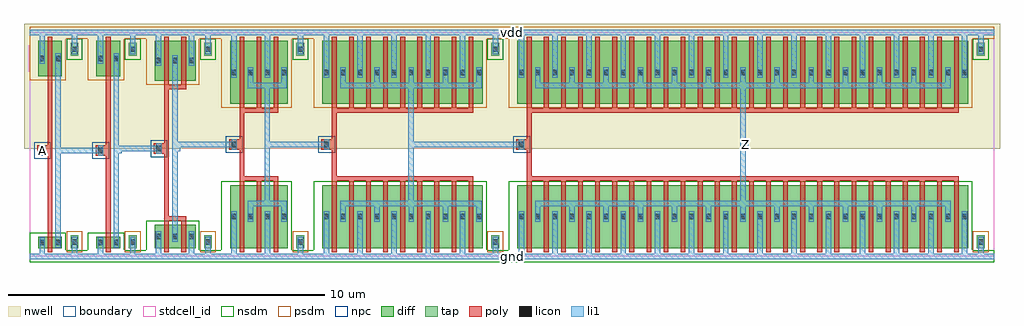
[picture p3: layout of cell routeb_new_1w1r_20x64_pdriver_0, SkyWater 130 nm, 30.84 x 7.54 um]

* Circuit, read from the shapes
.subckt routeb_new_1w1r_20x64_pdriver_0 A Z gnd vdd
XM1 routeb_new_1w1r_20x64_pinv_4_1/A A gnd gnd sky130_fd_pr__nfet_01v8 w=0.36 l=0.15
XM2 routeb_new_1w1r_20x64_pinv_5_2/A routeb_new_1w1r_20x64_pinv_4_1/A gnd gnd sky130_fd_pr__nfet_01v8 w=0.36 l=0.15
XM3 routeb_new_1w1r_20x64_pinv_6_3/A routeb_new_1w1r_20x64_pinv_5_2/A gnd gnd sky130_fd_pr__nfet_01v8 w=0.74 l=0.15 m=2
XM4 routeb_new_1w1r_20x64_pinv_7_4/A routeb_new_1w1r_20x64_pinv_6_3/A gnd gnd sky130_fd_pr__nfet_01v8 w=2 l=0.15 m=3
XM5 routeb_new_1w1r_20x64_pinv_8_5/A routeb_new_1w1r_20x64_pinv_7_4/A gnd gnd sky130_fd_pr__nfet_01v8 w=2 l=0.15 m=9
XM6 Z routeb_new_1w1r_20x64_pinv_8_5/A gnd gnd sky130_fd_pr__nfet_01v8 w=2 l=0.15 m=26
XM7 routeb_new_1w1r_20x64_pinv_4_1/A A vdd vdd sky130_fd_pr__pfet_01v8 w=1.12 l=0.15
XM8 routeb_new_1w1r_20x64_pinv_5_2/A routeb_new_1w1r_20x64_pinv_4_1/A vdd vdd sky130_fd_pr__pfet_01v8 w=1.12 l=0.15
XM9 routeb_new_1w1r_20x64_pinv_6_3/A routeb_new_1w1r_20x64_pinv_5_2/A vdd vdd sky130_fd_pr__pfet_01v8 w=1.26 l=0.15 m=2
XM10 routeb_new_1w1r_20x64_pinv_7_4/A routeb_new_1w1r_20x64_pinv_6_3/A vdd vdd sky130_fd_pr__pfet_01v8 w=2 l=0.15 m=3
XM11 routeb_new_1w1r_20x64_pinv_8_5/A routeb_new_1w1r_20x64_pinv_7_4/A vdd vdd sky130_fd_pr__pfet_01v8 w=2 l=0.15 m=9
XM12 Z routeb_new_1w1r_20x64_pinv_8_5/A vdd vdd sky130_fd_pr__pfet_01v8 w=2 l=0.15 m=26
.ends

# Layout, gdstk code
import gdstk
lib = gdstk.Library(unit=1e-6, precision=1e-09)
def R(c, l, rs):  # rectangles x0, y0, x1, y1
    for r in rs: c.add(gdstk.rectangle(r[:2], r[2:], *l))
def A(c, l, x, y, w, h, nx, ny, dx, dy):  # array of equal rectangles
    R(c, l, [(x+i*dx, y+j*dy, x+i*dx+w, y+j*dy+h) for i in range(nx) for j in range(ny)])
nwell = (64, 20)
diff = (65, 20)
tap = (65, 44)
poly = (66, 20)
licon = (66, 44)
li1 = (67, 20)
stdcell_id = (81, 4)
nsdm = (93, 44)
psdm = (94, 20)
npc = (95, 20)
boundary = (235, 4)

routeb_new_1w1r_20x64_co = lib.new_cell('routeb_new_1w1r_20x64_contact_11')
R(routeb_new_1w1r_20x64_co, nwell, [(-0.295,-0.255,0.545,0.585)])
R(routeb_new_1w1r_20x64_co, diff, [(0,0.02,0.25,0.31)])
R(routeb_new_1w1r_20x64_co, licon, [(0.04,0.08,0.21,0.25)])
R(routeb_new_1w1r_20x64_co, li1, [(0.04,0,0.21,0.33)])
R(routeb_new_1w1r_20x64_co, stdcell_id, [(-0.295,-0.255,0.545,0.585)])
R(routeb_new_1w1r_20x64_co, psdm, [(-0.125,-0.105,0.375,0.435)])
R(routeb_new_1w1r_20x64_co, boundary, [(-0.295,-0.255,0.545,0.585)])

routeb_new_1w1r_20x64_pm = lib.new_cell('routeb_new_1w1r_20x64_pmos_m1_w1_120_sli_dli_da_p')
R(routeb_new_1w1r_20x64_pm, nwell, [(-0.27,-0.27,1.02,1.39)])
R(routeb_new_1w1r_20x64_pm, diff, [(0,0,0.75,1.12)])
R(routeb_new_1w1r_20x64_pm, poly, [(0.3,-0.13,0.45,1.25), (0.3,-0.13,0.45,1.25)])
R(routeb_new_1w1r_20x64_pm, li1, [(0.04,0.395,0.21,0.725), (0.54,0.395,0.71,0.725)])
R(routeb_new_1w1r_20x64_pm, stdcell_id, [(-0.27,-0.27,1.02,1.39)])
R(routeb_new_1w1r_20x64_pm, psdm, [(-0.125,-0.125,0.875,1.245)])
R(routeb_new_1w1r_20x64_pm, boundary, [(-0.27,-0.27,1.02,1.39)])
routeb_new_1w1r_20x64_pm.add(gdstk.Reference(routeb_new_1w1r_20x64_co, (0,0.395)))
routeb_new_1w1r_20x64_pm.add(gdstk.Reference(routeb_new_1w1r_20x64_co, (0.5,0.395)))
routeb_new_1w1r_20x64_pm.add(gdstk.Label('G', (0.375,0.56), layer=66, texttype=5))
routeb_new_1w1r_20x64_pm.add(gdstk.Label('S', (0.125,0.56), layer=67, texttype=5))
routeb_new_1w1r_20x64_pm.add(gdstk.Label('D', (0.625,0.56), layer=67, texttype=5))

c_routeb_new_1w1r_20x64_co = lib.new_cell('routeb_new_1w1r_20x64_contact_10')
R(c_routeb_new_1w1r_20x64_co, diff, [(0,0.02,0.25,0.31)])
R(c_routeb_new_1w1r_20x64_co, licon, [(0.04,0.08,0.21,0.25)])
R(c_routeb_new_1w1r_20x64_co, li1, [(0.04,0,0.21,0.33)])
R(c_routeb_new_1w1r_20x64_co, stdcell_id, [(-0.125,-0.105,0.375,0.435)])
R(c_routeb_new_1w1r_20x64_co, nsdm, [(-0.125,-0.105,0.375,0.435)])
R(c_routeb_new_1w1r_20x64_co, boundary, [(-0.125,-0.105,0.375,0.435)])

routeb_new_1w1r_20x64_nm = lib.new_cell('routeb_new_1w1r_20x64_nmos_m1_w0_360_sli_dli_da_p')
R(routeb_new_1w1r_20x64_nm, diff, [(0,0,0.75,0.36)])
R(routeb_new_1w1r_20x64_nm, poly, [(0.3,-0.13,0.45,0.49), (0.3,-0.13,0.45,0.49)])
R(routeb_new_1w1r_20x64_nm, li1, [(0.04,0.015,0.21,0.345), (0.54,0.015,0.71,0.345)])
R(routeb_new_1w1r_20x64_nm, stdcell_id, [(-0.125,-0.13,0.875,0.49)])
R(routeb_new_1w1r_20x64_nm, nsdm, [(-0.125,-0.125,0.875,0.485)])
R(routeb_new_1w1r_20x64_nm, boundary, [(-0.125,-0.13,0.875,0.49)])
routeb_new_1w1r_20x64_nm.add(gdstk.Reference(c_routeb_new_1w1r_20x64_co, (0,0.015)))
routeb_new_1w1r_20x64_nm.add(gdstk.Reference(c_routeb_new_1w1r_20x64_co, (0.5,0.015)))
routeb_new_1w1r_20x64_nm.add(gdstk.Label('G', (0.375,0.18), layer=66, texttype=5))
routeb_new_1w1r_20x64_nm.add(gdstk.Label('S', (0.125,0.18), layer=67, texttype=5))
routeb_new_1w1r_20x64_nm.add(gdstk.Label('D', (0.625,0.18), layer=67, texttype=5))

c_routeb_new_1w1r_20x64_co_ = lib.new_cell('routeb_new_1w1r_20x64_contact_24')
R(c_routeb_new_1w1r_20x64_co_, nwell, [(-0.295,-0.215,0.545,0.625)])
R(c_routeb_new_1w1r_20x64_co_, tap, [(0,0,0.25,0.41)])
R(c_routeb_new_1w1r_20x64_co_, licon, [(0.04,0.12,0.21,0.29)])
R(c_routeb_new_1w1r_20x64_co_, li1, [(0.04,0.04,0.21,0.37)])
R(c_routeb_new_1w1r_20x64_co_, stdcell_id, [(-0.295,-0.215,0.545,0.625)])
R(c_routeb_new_1w1r_20x64_co_, nsdm, [(-0.125,-0.125,0.375,0.535)])
R(c_routeb_new_1w1r_20x64_co_, boundary, [(-0.295,-0.215,0.545,0.625)])

c_routeb_new_1w1r_20x64_co__ = lib.new_cell('routeb_new_1w1r_20x64_contact_25')
R(c_routeb_new_1w1r_20x64_co__, tap, [(0,0,0.25,0.41)])
R(c_routeb_new_1w1r_20x64_co__, licon, [(0.04,0.12,0.21,0.29)])
R(c_routeb_new_1w1r_20x64_co__, li1, [(0.04,0.04,0.21,0.37)])
R(c_routeb_new_1w1r_20x64_co__, stdcell_id, [(-0.125,-0.125,0.375,0.535)])
R(c_routeb_new_1w1r_20x64_co__, psdm, [(-0.125,-0.125,0.375,0.535)])
R(c_routeb_new_1w1r_20x64_co__, boundary, [(-0.125,-0.125,0.375,0.535)])

c_routeb_new_1w1r_20x64_co___ = lib.new_cell('routeb_new_1w1r_20x64_contact_15')
R(c_routeb_new_1w1r_20x64_co___, poly, [(0,0,0.33,0.33)])
R(c_routeb_new_1w1r_20x64_co___, licon, [(0.08,0.08,0.25,0.25)])
R(c_routeb_new_1w1r_20x64_co___, li1, [(0.08,0,0.25,0.33)])
R(c_routeb_new_1w1r_20x64_co___, stdcell_id, [(-0.1,-0.1,0.43,0.43)])
R(c_routeb_new_1w1r_20x64_co___, npc, [(-0.1,-0.1,0.43,0.43)])
R(c_routeb_new_1w1r_20x64_co___, boundary, [(-0.1,-0.1,0.43,0.43)])

routeb_new_1w1r_20x64_pi = lib.new_cell('routeb_new_1w1r_20x64_pinv_4')
R(routeb_new_1w1r_20x64_pi, nwell, [(-0.18,3.395,2.02,7.355)])
R(routeb_new_1w1r_20x64_pi, poly, [(0.57,0.745,0.72,5.565), (0.405,3.18,0.57,3.51)])
R(routeb_new_1w1r_20x64_pi, li1, [(0,-0.085,1.84,0.085), (0.31,-0.085,0.48,0.27), (1.33,0,1.5,0.46), (0.81,0.27,0.98,6.42), (0.32,3.18,0.49,3.51), (0.895,3.26,1.065,3.43), (0.31,6.09,0.48,7.155), (1.33,6.545,1.5,7.07), (0,6.985,1.84,7.155)])
R(routeb_new_1w1r_20x64_pi, stdcell_id, [(0,0,1.84,7.07), (0,0,1.84,7.07)])
R(routeb_new_1w1r_20x64_pi, nsdm, [(0,-0.19,1.84,0.19), (0,0,1.145,0.74)])
R(routeb_new_1w1r_20x64_pi, psdm, [(0,5.57,1.145,7.07), (0,6.88,1.84,7.26)])
R(routeb_new_1w1r_20x64_pi, boundary, [(0,0,1.84,7.07), (0,0,1.84,7.07)])
routeb_new_1w1r_20x64_pi.add(gdstk.Reference(routeb_new_1w1r_20x64_pm, (0.27,5.695)))
routeb_new_1w1r_20x64_pi.add(gdstk.Reference(routeb_new_1w1r_20x64_nm, (0.27,0.255)))
routeb_new_1w1r_20x64_pi.add(gdstk.Reference(c_routeb_new_1w1r_20x64_co_, (1.29,6.34)))
routeb_new_1w1r_20x64_pi.add(gdstk.Reference(c_routeb_new_1w1r_20x64_co__, (1.29,0.255)))
routeb_new_1w1r_20x64_pi.add(gdstk.Reference(c_routeb_new_1w1r_20x64_co___, (0.24,3.18)))
routeb_new_1w1r_20x64_pi.add(gdstk.Label('A', (0.405,3.345), layer=67, texttype=5))
routeb_new_1w1r_20x64_pi.add(gdstk.Label('Z', (0.98,3.345), layer=67, texttype=5))
routeb_new_1w1r_20x64_pi.add(gdstk.Label('gnd', (0.92,0), layer=67, texttype=5))
routeb_new_1w1r_20x64_pi.add(gdstk.Label('vdd', (0.92,7.07), layer=67, texttype=5))

c_routeb_new_1w1r_20x64_pm = lib.new_cell('routeb_new_1w1r_20x64_pmos_m2_w1_260_sli_dli_da_p')
R(c_routeb_new_1w1r_20x64_pm, nwell, [(-0.27,-0.27,1.56,1.53)])
R(c_routeb_new_1w1r_20x64_pm, diff, [(0,0,1.29,1.26)])
R(c_routeb_new_1w1r_20x64_pm, poly, [(0.3,-0.28,0.99,-0.13), (0.3,-0.13,0.45,1.39), (0.84,-0.13,0.99,1.39)])
A(c_routeb_new_1w1r_20x64_pm, li1, 0.04, 0.465, 0.17, 0.33, 3, 1, 0.52, 0)
R(c_routeb_new_1w1r_20x64_pm, stdcell_id, [(-0.27,-0.28,1.56,1.53)])
R(c_routeb_new_1w1r_20x64_pm, psdm, [(-0.125,-0.125,1.415,1.385)])
R(c_routeb_new_1w1r_20x64_pm, boundary, [(-0.27,-0.28,1.56,1.53)])
c_routeb_new_1w1r_20x64_pm.add(gdstk.Reference(routeb_new_1w1r_20x64_co, (0,0.465)))
c_routeb_new_1w1r_20x64_pm.add(gdstk.Reference(routeb_new_1w1r_20x64_co, (0.52,0.465)))
c_routeb_new_1w1r_20x64_pm.add(gdstk.Reference(routeb_new_1w1r_20x64_co, (1.04,0.465)))
c_routeb_new_1w1r_20x64_pm.add(gdstk.Label('G', (0.645,-0.205), layer=66, texttype=5))
c_routeb_new_1w1r_20x64_pm.add(gdstk.Label('S', (0.125,0.63), layer=67, texttype=5))
c_routeb_new_1w1r_20x64_pm.add(gdstk.Label('S', (1.165,0.63), layer=67, texttype=5))
c_routeb_new_1w1r_20x64_pm.add(gdstk.Label('D', (0.645,0.63), layer=67, texttype=5))

c_routeb_new_1w1r_20x64_nm = lib.new_cell('routeb_new_1w1r_20x64_nmos_m2_w0_740_sli_dli_da_p')
R(c_routeb_new_1w1r_20x64_nm, diff, [(0,0,1.29,0.74)])
R(c_routeb_new_1w1r_20x64_nm, poly, [(0.3,-0.13,0.45,0.87), (0.84,-0.13,0.99,0.87), (0.3,0.87,0.99,1.02)])
A(c_routeb_new_1w1r_20x64_nm, li1, 0.04, 0.205, 0.17, 0.33, 3, 1, 0.52, 0)
R(c_routeb_new_1w1r_20x64_nm, stdcell_id, [(-0.125,-0.13,1.415,1.02)])
R(c_routeb_new_1w1r_20x64_nm, nsdm, [(-0.125,-0.125,1.415,0.865)])
R(c_routeb_new_1w1r_20x64_nm, boundary, [(-0.125,-0.13,1.415,1.02)])
c_routeb_new_1w1r_20x64_nm.add(gdstk.Reference(c_routeb_new_1w1r_20x64_co, (0,0.205)))
c_routeb_new_1w1r_20x64_nm.add(gdstk.Reference(c_routeb_new_1w1r_20x64_co, (0.52,0.205)))
c_routeb_new_1w1r_20x64_nm.add(gdstk.Reference(c_routeb_new_1w1r_20x64_co, (1.04,0.205)))
c_routeb_new_1w1r_20x64_nm.add(gdstk.Label('G', (0.645,0.945), layer=66, texttype=5))
c_routeb_new_1w1r_20x64_nm.add(gdstk.Label('S', (1.165,0.37), layer=67, texttype=5))
c_routeb_new_1w1r_20x64_nm.add(gdstk.Label('S', (0.125,0.37), layer=67, texttype=5))
c_routeb_new_1w1r_20x64_nm.add(gdstk.Label('D', (0.645,0.37), layer=67, texttype=5))

c_routeb_new_1w1r_20x64_pi = lib.new_cell('routeb_new_1w1r_20x64_pinv_5')
R(c_routeb_new_1w1r_20x64_pi, nwell, [(-0.18,3.395,2.56,7.355)])
R(c_routeb_new_1w1r_20x64_pi, poly, [(0.57,1.275,0.72,5.275), (0.405,3.24,0.57,3.57)])
R(c_routeb_new_1w1r_20x64_pi, li1, [(0,-0.085,2.38,0.085), (0.31,-0.085,0.48,0.46), (1.35,-0.085,1.52,0.46), (1.87,0,2.04,0.46), (0.83,0.46,1,6.35), (0.32,3.24,0.49,3.57), (0.915,3.32,1.085,3.49), (0.31,6.02,0.48,7.155), (1.35,6.02,1.52,7.155), (1.87,6.545,2.04,7.07), (0,6.985,2.38,7.155)])
R(c_routeb_new_1w1r_20x64_pi, stdcell_id, [(0,0,2.38,7.07), (0,0,2.38,7.07)])
R(c_routeb_new_1w1r_20x64_pi, nsdm, [(0,-0.19,2.38,0.19), (0,0,1.685,1.12)])
R(c_routeb_new_1w1r_20x64_pi, psdm, [(0,5.43,1.685,7.07), (0,6.88,2.38,7.26)])
R(c_routeb_new_1w1r_20x64_pi, boundary, [(0,0,2.38,7.07), (0,0,2.38,7.07)])
c_routeb_new_1w1r_20x64_pi.add(gdstk.Reference(c_routeb_new_1w1r_20x64_pm, (0.27,5.555)))
c_routeb_new_1w1r_20x64_pi.add(gdstk.Reference(c_routeb_new_1w1r_20x64_nm, (0.27,0.255)))
c_routeb_new_1w1r_20x64_pi.add(gdstk.Reference(c_routeb_new_1w1r_20x64_co_, (1.83,6.34)))
c_routeb_new_1w1r_20x64_pi.add(gdstk.Reference(c_routeb_new_1w1r_20x64_co__, (1.83,0.255)))
c_routeb_new_1w1r_20x64_pi.add(gdstk.Reference(c_routeb_new_1w1r_20x64_co___, (0.24,3.24)))
c_routeb_new_1w1r_20x64_pi.add(gdstk.Label('A', (0.405,3.405), layer=67, texttype=5))
c_routeb_new_1w1r_20x64_pi.add(gdstk.Label('Z', (1,3.405), layer=67, texttype=5))
c_routeb_new_1w1r_20x64_pi.add(gdstk.Label('gnd', (1.19,0), layer=67, texttype=5))
c_routeb_new_1w1r_20x64_pi.add(gdstk.Label('vdd', (1.19,7.07), layer=67, texttype=5))

c_routeb_new_1w1r_20x64_pm_ = lib.new_cell('routeb_new_1w1r_20x64_pmos_m3_w2_000_sli_dli_da_p')
R(c_routeb_new_1w1r_20x64_pm_, nwell, [(-0.27,-0.27,2.1,2.27)])
R(c_routeb_new_1w1r_20x64_pm_, diff, [(0,0,1.83,2)])
A(c_routeb_new_1w1r_20x64_pm_, poly, 0.3, -0.13, 0.15, 2.26, 3, 1, 0.54, 0)
R(c_routeb_new_1w1r_20x64_pm_, poly, [(0.3,-0.28,1.53,-0.13)])
R(c_routeb_new_1w1r_20x64_pm_, li1, [(0.56,0.495,1.79,0.665), (0.56,0.58,0.73,1), (1.62,0.58,1.79,1), (0.04,0.835,0.21,1.165), (1.1,0.835,1.27,1.165)])
R(c_routeb_new_1w1r_20x64_pm_, stdcell_id, [(-0.27,-0.28,2.1,2.27)])
R(c_routeb_new_1w1r_20x64_pm_, psdm, [(-0.125,-0.125,1.955,2.125)])
R(c_routeb_new_1w1r_20x64_pm_, boundary, [(-0.27,-0.28,2.1,2.27)])
c_routeb_new_1w1r_20x64_pm_.add(gdstk.Reference(routeb_new_1w1r_20x64_co, (0,0.835)))
c_routeb_new_1w1r_20x64_pm_.add(gdstk.Reference(routeb_new_1w1r_20x64_co, (0.52,0.835)))
c_routeb_new_1w1r_20x64_pm_.add(gdstk.Reference(routeb_new_1w1r_20x64_co, (1.06,0.835)))
c_routeb_new_1w1r_20x64_pm_.add(gdstk.Reference(routeb_new_1w1r_20x64_co, (1.58,0.835)))
c_routeb_new_1w1r_20x64_pm_.add(gdstk.Label('G', (0.915,-0.205), layer=66, texttype=5))
c_routeb_new_1w1r_20x64_pm_.add(gdstk.Label('S', (0.125,1), layer=67, texttype=5))
c_routeb_new_1w1r_20x64_pm_.add(gdstk.Label('S', (1.185,1), layer=67, texttype=5))
c_routeb_new_1w1r_20x64_pm_.add(gdstk.Label('D', (1.175,0.58), layer=67, texttype=5))

c_routeb_new_1w1r_20x64_nm_ = lib.new_cell('routeb_new_1w1r_20x64_nmos_m3_w2_000_sli_dli_da_p')
R(c_routeb_new_1w1r_20x64_nm_, diff, [(0,0,1.83,2)])
A(c_routeb_new_1w1r_20x64_nm_, poly, 0.3, -0.13, 0.15, 2.26, 3, 1, 0.54, 0)
R(c_routeb_new_1w1r_20x64_nm_, poly, [(0.3,2.13,1.53,2.28)])
R(c_routeb_new_1w1r_20x64_nm_, li1, [(0.04,0.835,0.21,1.165), (1.1,0.835,1.27,1.165), (0.56,1,0.73,1.42), (1.62,1,1.79,1.42), (0.56,1.335,1.79,1.505)])
R(c_routeb_new_1w1r_20x64_nm_, stdcell_id, [(-0.125,-0.13,1.955,2.28)])
R(c_routeb_new_1w1r_20x64_nm_, nsdm, [(-0.125,-0.125,1.955,2.125)])
R(c_routeb_new_1w1r_20x64_nm_, boundary, [(-0.125,-0.13,1.955,2.28)])
c_routeb_new_1w1r_20x64_nm_.add(gdstk.Reference(c_routeb_new_1w1r_20x64_co, (0,0.835)))
c_routeb_new_1w1r_20x64_nm_.add(gdstk.Reference(c_routeb_new_1w1r_20x64_co, (0.52,0.835)))
c_routeb_new_1w1r_20x64_nm_.add(gdstk.Reference(c_routeb_new_1w1r_20x64_co, (1.06,0.835)))
c_routeb_new_1w1r_20x64_nm_.add(gdstk.Reference(c_routeb_new_1w1r_20x64_co, (1.58,0.835)))
c_routeb_new_1w1r_20x64_nm_.add(gdstk.Label('G', (0.915,2.205), layer=66, texttype=5))
c_routeb_new_1w1r_20x64_nm_.add(gdstk.Label('S', (0.125,1), layer=67, texttype=5))
c_routeb_new_1w1r_20x64_nm_.add(gdstk.Label('S', (1.185,1), layer=67, texttype=5))
c_routeb_new_1w1r_20x64_nm_.add(gdstk.Label('D', (1.175,1.42), layer=67, texttype=5))

c_routeb_new_1w1r_20x64_pi_ = lib.new_cell('routeb_new_1w1r_20x64_pinv_6')
R(c_routeb_new_1w1r_20x64_pi_, nwell, [(-0.18,3.395,3.1,7.355)])
R(c_routeb_new_1w1r_20x64_pi_, poly, [(0.57,2.535,0.72,4.535), (0.405,3.37,0.57,3.7)])
R(c_routeb_new_1w1r_20x64_pi_, li1, [(0,-0.085,2.92,0.085), (0.31,-0.085,0.48,1.09), (1.37,-0.085,1.54,1.09), (2.41,0,2.58,0.46), (1.36,1.59,1.53,5.48), (0.32,3.37,0.49,3.7), (1.445,3.45,1.615,3.62), (0.31,5.65,0.48,7.155), (1.37,5.65,1.54,7.155), (2.41,6.545,2.58,7.07), (0,6.985,2.92,7.155)])
R(c_routeb_new_1w1r_20x64_pi_, stdcell_id, [(0,0,2.92,7.07), (0,0,2.92,7.07)])
R(c_routeb_new_1w1r_20x64_pi_, nsdm, [(0,-0.19,2.92,0.19), (0,0,2.225,2.38)])
R(c_routeb_new_1w1r_20x64_pi_, psdm, [(0,4.69,2.225,7.07), (0,6.88,2.92,7.26)])
R(c_routeb_new_1w1r_20x64_pi_, boundary, [(0,0,2.92,7.07), (0,0,2.92,7.07)])
c_routeb_new_1w1r_20x64_pi_.add(gdstk.Reference(c_routeb_new_1w1r_20x64_pm_, (0.27,4.815)))
c_routeb_new_1w1r_20x64_pi_.add(gdstk.Reference(c_routeb_new_1w1r_20x64_nm_, (0.27,0.255)))
c_routeb_new_1w1r_20x64_pi_.add(gdstk.Reference(c_routeb_new_1w1r_20x64_co_, (2.37,6.34)))
c_routeb_new_1w1r_20x64_pi_.add(gdstk.Reference(c_routeb_new_1w1r_20x64_co__, (2.37,0.255)))
c_routeb_new_1w1r_20x64_pi_.add(gdstk.Reference(c_routeb_new_1w1r_20x64_co___, (0.24,3.37)))
c_routeb_new_1w1r_20x64_pi_.add(gdstk.Label('A', (0.405,3.535), layer=67, texttype=5))
c_routeb_new_1w1r_20x64_pi_.add(gdstk.Label('Z', (1.53,3.535), layer=67, texttype=5))
c_routeb_new_1w1r_20x64_pi_.add(gdstk.Label('gnd', (1.46,0), layer=67, texttype=5))
c_routeb_new_1w1r_20x64_pi_.add(gdstk.Label('vdd', (1.46,7.07), layer=67, texttype=5))

c_routeb_new_1w1r_20x64_pm__ = lib.new_cell('routeb_new_1w1r_20x64_pmos_m9_w2_000_sli_dli_da_p')
R(c_routeb_new_1w1r_20x64_pm__, nwell, [(-0.27,-0.27,5.34,2.27)])
R(c_routeb_new_1w1r_20x64_pm__, diff, [(0,0,5.07,2)])
A(c_routeb_new_1w1r_20x64_pm__, poly, 0.3, -0.13, 0.15, 2.26, 9, 1, 0.54, 0)
R(c_routeb_new_1w1r_20x64_pm__, poly, [(0.3,-0.28,4.77,-0.13)])
A(c_routeb_new_1w1r_20x64_pm__, li1, 0.56, 0.58, 0.17, 0.42, 4, 1, 1.08, 0)
A(c_routeb_new_1w1r_20x64_pm__, li1, 1.1, 0.835, 0.17, 0.33, 4, 1, 1.08, 0)
R(c_routeb_new_1w1r_20x64_pm__, li1, [(0.56,0.495,5.03,0.665), (4.86,0.58,5.03,1), (0.04,0.835,0.21,1.165)])
R(c_routeb_new_1w1r_20x64_pm__, stdcell_id, [(-0.27,-0.28,5.34,2.27)])
R(c_routeb_new_1w1r_20x64_pm__, psdm, [(-0.125,-0.125,5.195,2.125)])
R(c_routeb_new_1w1r_20x64_pm__, boundary, [(-0.27,-0.28,5.34,2.27)])
c_routeb_new_1w1r_20x64_pm__.add(gdstk.Reference(routeb_new_1w1r_20x64_co, (0,0.835)))
c_routeb_new_1w1r_20x64_pm__.add(gdstk.Reference(routeb_new_1w1r_20x64_co, (0.52,0.835)))
c_routeb_new_1w1r_20x64_pm__.add(gdstk.Reference(routeb_new_1w1r_20x64_co, (1.06,0.835)))
c_routeb_new_1w1r_20x64_pm__.add(gdstk.Reference(routeb_new_1w1r_20x64_co, (1.6,0.835)))
c_routeb_new_1w1r_20x64_pm__.add(gdstk.Reference(routeb_new_1w1r_20x64_co, (2.14,0.835)))
c_routeb_new_1w1r_20x64_pm__.add(gdstk.Reference(routeb_new_1w1r_20x64_co, (2.68,0.835)))
c_routeb_new_1w1r_20x64_pm__.add(gdstk.Reference(routeb_new_1w1r_20x64_co, (3.22,0.835)))
c_routeb_new_1w1r_20x64_pm__.add(gdstk.Reference(routeb_new_1w1r_20x64_co, (3.76,0.835)))
c_routeb_new_1w1r_20x64_pm__.add(gdstk.Reference(routeb_new_1w1r_20x64_co, (4.3,0.835)))
c_routeb_new_1w1r_20x64_pm__.add(gdstk.Reference(routeb_new_1w1r_20x64_co, (4.82,0.835)))
c_routeb_new_1w1r_20x64_pm__.add(gdstk.Label('G', (2.535,-0.205), layer=66, texttype=5))
c_routeb_new_1w1r_20x64_pm__.add(gdstk.Label('S', (0.125,1), layer=67, texttype=5))
c_routeb_new_1w1r_20x64_pm__.add(gdstk.Label('S', (4.425,1), layer=67, texttype=5))
c_routeb_new_1w1r_20x64_pm__.add(gdstk.Label('S', (2.265,1), layer=67, texttype=5))
c_routeb_new_1w1r_20x64_pm__.add(gdstk.Label('S', (1.185,1), layer=67, texttype=5))
c_routeb_new_1w1r_20x64_pm__.add(gdstk.Label('S', (3.345,1), layer=67, texttype=5))
c_routeb_new_1w1r_20x64_pm__.add(gdstk.Label('D', (2.795,0.58), layer=67, texttype=5))

c_routeb_new_1w1r_20x64_nm__ = lib.new_cell('routeb_new_1w1r_20x64_nmos_m9_w2_000_sli_dli_da_p')
R(c_routeb_new_1w1r_20x64_nm__, diff, [(0,0,5.07,2)])
A(c_routeb_new_1w1r_20x64_nm__, poly, 0.3, -0.13, 0.15, 2.26, 9, 1, 0.54, 0)
R(c_routeb_new_1w1r_20x64_nm__, poly, [(0.3,2.13,4.77,2.28)])
A(c_routeb_new_1w1r_20x64_nm__, li1, 1.1, 0.835, 0.17, 0.33, 4, 1, 1.08, 0)
A(c_routeb_new_1w1r_20x64_nm__, li1, 0.56, 1, 0.17, 0.42, 4, 1, 1.08, 0)
R(c_routeb_new_1w1r_20x64_nm__, li1, [(0.04,0.835,0.21,1.165), (4.86,1,5.03,1.42), (0.56,1.335,5.03,1.505)])
R(c_routeb_new_1w1r_20x64_nm__, stdcell_id, [(-0.125,-0.13,5.195,2.28)])
R(c_routeb_new_1w1r_20x64_nm__, nsdm, [(-0.125,-0.125,5.195,2.125)])
R(c_routeb_new_1w1r_20x64_nm__, boundary, [(-0.125,-0.13,5.195,2.28)])
c_routeb_new_1w1r_20x64_nm__.add(gdstk.Reference(c_routeb_new_1w1r_20x64_co, (0,0.835)))
c_routeb_new_1w1r_20x64_nm__.add(gdstk.Reference(c_routeb_new_1w1r_20x64_co, (0.52,0.835)))
c_routeb_new_1w1r_20x64_nm__.add(gdstk.Reference(c_routeb_new_1w1r_20x64_co, (1.06,0.835)))
c_routeb_new_1w1r_20x64_nm__.add(gdstk.Reference(c_routeb_new_1w1r_20x64_co, (1.6,0.835)))
c_routeb_new_1w1r_20x64_nm__.add(gdstk.Reference(c_routeb_new_1w1r_20x64_co, (2.14,0.835)))
c_routeb_new_1w1r_20x64_nm__.add(gdstk.Reference(c_routeb_new_1w1r_20x64_co, (2.68,0.835)))
c_routeb_new_1w1r_20x64_nm__.add(gdstk.Reference(c_routeb_new_1w1r_20x64_co, (3.22,0.835)))
c_routeb_new_1w1r_20x64_nm__.add(gdstk.Reference(c_routeb_new_1w1r_20x64_co, (3.76,0.835)))
c_routeb_new_1w1r_20x64_nm__.add(gdstk.Reference(c_routeb_new_1w1r_20x64_co, (4.3,0.835)))
c_routeb_new_1w1r_20x64_nm__.add(gdstk.Reference(c_routeb_new_1w1r_20x64_co, (4.82,0.835)))
c_routeb_new_1w1r_20x64_nm__.add(gdstk.Label('G', (2.535,2.205), layer=66, texttype=5))
c_routeb_new_1w1r_20x64_nm__.add(gdstk.Label('S', (0.125,1), layer=67, texttype=5))
c_routeb_new_1w1r_20x64_nm__.add(gdstk.Label('S', (4.425,1), layer=67, texttype=5))
c_routeb_new_1w1r_20x64_nm__.add(gdstk.Label('S', (2.265,1), layer=67, texttype=5))
c_routeb_new_1w1r_20x64_nm__.add(gdstk.Label('S', (1.185,1), layer=67, texttype=5))
c_routeb_new_1w1r_20x64_nm__.add(gdstk.Label('S', (3.345,1), layer=67, texttype=5))
c_routeb_new_1w1r_20x64_nm__.add(gdstk.Label('D', (2.795,1.42), layer=67, texttype=5))

c_routeb_new_1w1r_20x64_pi__ = lib.new_cell('routeb_new_1w1r_20x64_pinv_7')
R(c_routeb_new_1w1r_20x64_pi__, nwell, [(-0.18,3.395,6.34,7.355)])
R(c_routeb_new_1w1r_20x64_pi__, poly, [(0.57,2.535,0.72,4.535), (0.405,3.37,0.57,3.7)])
A(c_routeb_new_1w1r_20x64_pi__, li1, 1.37, -0.085, 0.17, 1.175, 4, 1, 1.08, 0)
A(c_routeb_new_1w1r_20x64_pi__, li1, 1.37, 5.65, 0.17, 1.505, 4, 1, 1.08, 0)
R(c_routeb_new_1w1r_20x64_pi__, li1, [(0,-0.085,6.16,0.085), (0.31,-0.085,0.48,1.09), (5.65,0,5.82,0.46), (2.98,1.59,3.15,5.48), (0.32,3.37,0.49,3.7), (3.065,3.45,3.235,3.62), (0.31,5.65,0.48,7.155), (5.65,6.545,5.82,7.07), (0,6.985,6.16,7.155)])
R(c_routeb_new_1w1r_20x64_pi__, stdcell_id, [(0,0,6.16,7.07), (0,0,6.16,7.07)])
R(c_routeb_new_1w1r_20x64_pi__, nsdm, [(0,-0.19,6.16,0.19), (0,0,5.465,2.38)])
R(c_routeb_new_1w1r_20x64_pi__, psdm, [(0,4.69,5.465,7.07), (0,6.88,6.16,7.26)])
R(c_routeb_new_1w1r_20x64_pi__, boundary, [(0,0,6.16,7.07), (0,0,6.16,7.07)])
c_routeb_new_1w1r_20x64_pi__.add(gdstk.Reference(c_routeb_new_1w1r_20x64_pm__, (0.27,4.815)))
c_routeb_new_1w1r_20x64_pi__.add(gdstk.Reference(c_routeb_new_1w1r_20x64_nm__, (0.27,0.255)))
c_routeb_new_1w1r_20x64_pi__.add(gdstk.Reference(c_routeb_new_1w1r_20x64_co_, (5.61,6.34)))
c_routeb_new_1w1r_20x64_pi__.add(gdstk.Reference(c_routeb_new_1w1r_20x64_co__, (5.61,0.255)))
c_routeb_new_1w1r_20x64_pi__.add(gdstk.Reference(c_routeb_new_1w1r_20x64_co___, (0.24,3.37)))
c_routeb_new_1w1r_20x64_pi__.add(gdstk.Label('A', (0.405,3.535), layer=67, texttype=5))
c_routeb_new_1w1r_20x64_pi__.add(gdstk.Label('Z', (3.15,3.535), layer=67, texttype=5))
c_routeb_new_1w1r_20x64_pi__.add(gdstk.Label('gnd', (3.08,0), layer=67, texttype=5))
c_routeb_new_1w1r_20x64_pi__.add(gdstk.Label('vdd', (3.08,7.07), layer=67, texttype=5))

c_routeb_new_1w1r_20x64_pm___ = lib.new_cell('routeb_new_1w1r_20x64_pmos_m26_w2_000_sli_dli_da_p')
R(c_routeb_new_1w1r_20x64_pm___, nwell, [(-0.27,-0.27,14.52,2.27)])
R(c_routeb_new_1w1r_20x64_pm___, diff, [(0,0,14.25,2)])
A(c_routeb_new_1w1r_20x64_pm___, poly, 0.3, -0.13, 0.15, 2.26, 26, 1, 0.54, 0)
R(c_routeb_new_1w1r_20x64_pm___, poly, [(0.3,-0.28,13.95,-0.13)])
A(c_routeb_new_1w1r_20x64_pm___, li1, 0.56, 0.58, 0.17, 0.42, 13, 1, 1.08, 0)
A(c_routeb_new_1w1r_20x64_pm___, li1, 1.1, 0.835, 0.17, 0.33, 12, 1, 1.08, 0)
R(c_routeb_new_1w1r_20x64_pm___, li1, [(0.56,0.495,13.69,0.665), (0.04,0.835,0.21,1.165), (14.04,0.835,14.21,1.165)])
R(c_routeb_new_1w1r_20x64_pm___, stdcell_id, [(-0.27,-0.28,14.52,2.27)])
R(c_routeb_new_1w1r_20x64_pm___, psdm, [(-0.125,-0.125,14.375,2.125)])
R(c_routeb_new_1w1r_20x64_pm___, boundary, [(-0.27,-0.28,14.52,2.27)])
c_routeb_new_1w1r_20x64_pm___.add(gdstk.Reference(routeb_new_1w1r_20x64_co, (0,0.835)))
c_routeb_new_1w1r_20x64_pm___.add(gdstk.Reference(routeb_new_1w1r_20x64_co, (0.52,0.835)))
c_routeb_new_1w1r_20x64_pm___.add(gdstk.Reference(routeb_new_1w1r_20x64_co, (1.06,0.835)))
c_routeb_new_1w1r_20x64_pm___.add(gdstk.Reference(routeb_new_1w1r_20x64_co, (1.6,0.835)))
c_routeb_new_1w1r_20x64_pm___.add(gdstk.Reference(routeb_new_1w1r_20x64_co, (2.14,0.835)))
c_routeb_new_1w1r_20x64_pm___.add(gdstk.Reference(routeb_new_1w1r_20x64_co, (2.68,0.835)))
c_routeb_new_1w1r_20x64_pm___.add(gdstk.Reference(routeb_new_1w1r_20x64_co, (3.22,0.835)))
c_routeb_new_1w1r_20x64_pm___.add(gdstk.Reference(routeb_new_1w1r_20x64_co, (3.76,0.835)))
c_routeb_new_1w1r_20x64_pm___.add(gdstk.Reference(routeb_new_1w1r_20x64_co, (4.3,0.835)))
c_routeb_new_1w1r_20x64_pm___.add(gdstk.Reference(routeb_new_1w1r_20x64_co, (4.84,0.835)))
c_routeb_new_1w1r_20x64_pm___.add(gdstk.Reference(routeb_new_1w1r_20x64_co, (5.38,0.835)))
c_routeb_new_1w1r_20x64_pm___.add(gdstk.Reference(routeb_new_1w1r_20x64_co, (5.92,0.835)))
c_routeb_new_1w1r_20x64_pm___.add(gdstk.Reference(routeb_new_1w1r_20x64_co, (6.46,0.835)))
c_routeb_new_1w1r_20x64_pm___.add(gdstk.Reference(routeb_new_1w1r_20x64_co, (7,0.835)))
c_routeb_new_1w1r_20x64_pm___.add(gdstk.Reference(routeb_new_1w1r_20x64_co, (7.54,0.835)))
c_routeb_new_1w1r_20x64_pm___.add(gdstk.Reference(routeb_new_1w1r_20x64_co, (8.08,0.835)))
c_routeb_new_1w1r_20x64_pm___.add(gdstk.Reference(routeb_new_1w1r_20x64_co, (8.62,0.835)))
c_routeb_new_1w1r_20x64_pm___.add(gdstk.Reference(routeb_new_1w1r_20x64_co, (9.16,0.835)))
c_routeb_new_1w1r_20x64_pm___.add(gdstk.Reference(routeb_new_1w1r_20x64_co, (9.7,0.835)))
c_routeb_new_1w1r_20x64_pm___.add(gdstk.Reference(routeb_new_1w1r_20x64_co, (10.24,0.835)))
c_routeb_new_1w1r_20x64_pm___.add(gdstk.Reference(routeb_new_1w1r_20x64_co, (10.78,0.835)))
c_routeb_new_1w1r_20x64_pm___.add(gdstk.Reference(routeb_new_1w1r_20x64_co, (11.32,0.835)))
c_routeb_new_1w1r_20x64_pm___.add(gdstk.Reference(routeb_new_1w1r_20x64_co, (11.86,0.835)))
c_routeb_new_1w1r_20x64_pm___.add(gdstk.Reference(routeb_new_1w1r_20x64_co, (12.4,0.835)))
c_routeb_new_1w1r_20x64_pm___.add(gdstk.Reference(routeb_new_1w1r_20x64_co, (12.94,0.835)))
c_routeb_new_1w1r_20x64_pm___.add(gdstk.Reference(routeb_new_1w1r_20x64_co, (13.48,0.835)))
c_routeb_new_1w1r_20x64_pm___.add(gdstk.Reference(routeb_new_1w1r_20x64_co, (14,0.835)))
c_routeb_new_1w1r_20x64_pm___.add(gdstk.Label('G', (7.125,-0.205), layer=66, texttype=5))
c_routeb_new_1w1r_20x64_pm___.add(gdstk.Label('S', (14.125,1), layer=67, texttype=5))
c_routeb_new_1w1r_20x64_pm___.add(gdstk.Label('S', (8.745,1), layer=67, texttype=5))
c_routeb_new_1w1r_20x64_pm___.add(gdstk.Label('S', (13.065,1), layer=67, texttype=5))
c_routeb_new_1w1r_20x64_pm___.add(gdstk.Label('S', (0.125,1), layer=67, texttype=5))
c_routeb_new_1w1r_20x64_pm___.add(gdstk.Label('S', (4.425,1), layer=67, texttype=5))
c_routeb_new_1w1r_20x64_pm___.add(gdstk.Label('S', (11.985,1), layer=67, texttype=5))
c_routeb_new_1w1r_20x64_pm___.add(gdstk.Label('S', (2.265,1), layer=67, texttype=5))
c_routeb_new_1w1r_20x64_pm___.add(gdstk.Label('S', (6.585,1), layer=67, texttype=5))
c_routeb_new_1w1r_20x64_pm___.add(gdstk.Label('S', (1.185,1), layer=67, texttype=5))
c_routeb_new_1w1r_20x64_pm___.add(gdstk.Label('S', (9.825,1), layer=67, texttype=5))
c_routeb_new_1w1r_20x64_pm___.add(gdstk.Label('S', (7.665,1), layer=67, texttype=5))
c_routeb_new_1w1r_20x64_pm___.add(gdstk.Label('S', (10.905,1), layer=67, texttype=5))
c_routeb_new_1w1r_20x64_pm___.add(gdstk.Label('S', (3.345,1), layer=67, texttype=5))
c_routeb_new_1w1r_20x64_pm___.add(gdstk.Label('S', (5.505,1), layer=67, texttype=5))
c_routeb_new_1w1r_20x64_pm___.add(gdstk.Label('D', (7.125,0.58), layer=67, texttype=5))

c_routeb_new_1w1r_20x64_nm___ = lib.new_cell('routeb_new_1w1r_20x64_nmos_m26_w2_000_sli_dli_da_p')
R(c_routeb_new_1w1r_20x64_nm___, diff, [(0,0,14.25,2)])
A(c_routeb_new_1w1r_20x64_nm___, poly, 0.3, -0.13, 0.15, 2.26, 26, 1, 0.54, 0)
R(c_routeb_new_1w1r_20x64_nm___, poly, [(0.3,2.13,13.95,2.28)])
A(c_routeb_new_1w1r_20x64_nm___, li1, 1.1, 0.835, 0.17, 0.33, 12, 1, 1.08, 0)
A(c_routeb_new_1w1r_20x64_nm___, li1, 0.56, 1, 0.17, 0.42, 13, 1, 1.08, 0)
R(c_routeb_new_1w1r_20x64_nm___, li1, [(0.04,0.835,0.21,1.165), (14.04,0.835,14.21,1.165), (0.56,1.335,13.69,1.505)])
R(c_routeb_new_1w1r_20x64_nm___, stdcell_id, [(-0.125,-0.13,14.375,2.28)])
R(c_routeb_new_1w1r_20x64_nm___, nsdm, [(-0.125,-0.125,14.375,2.125)])
R(c_routeb_new_1w1r_20x64_nm___, boundary, [(-0.125,-0.13,14.375,2.28)])
c_routeb_new_1w1r_20x64_nm___.add(gdstk.Reference(c_routeb_new_1w1r_20x64_co, (0,0.835)))
c_routeb_new_1w1r_20x64_nm___.add(gdstk.Reference(c_routeb_new_1w1r_20x64_co, (0.52,0.835)))
c_routeb_new_1w1r_20x64_nm___.add(gdstk.Reference(c_routeb_new_1w1r_20x64_co, (1.06,0.835)))
c_routeb_new_1w1r_20x64_nm___.add(gdstk.Reference(c_routeb_new_1w1r_20x64_co, (1.6,0.835)))
c_routeb_new_1w1r_20x64_nm___.add(gdstk.Reference(c_routeb_new_1w1r_20x64_co, (2.14,0.835)))
c_routeb_new_1w1r_20x64_nm___.add(gdstk.Reference(c_routeb_new_1w1r_20x64_co, (2.68,0.835)))
c_routeb_new_1w1r_20x64_nm___.add(gdstk.Reference(c_routeb_new_1w1r_20x64_co, (3.22,0.835)))
c_routeb_new_1w1r_20x64_nm___.add(gdstk.Reference(c_routeb_new_1w1r_20x64_co, (3.76,0.835)))
c_routeb_new_1w1r_20x64_nm___.add(gdstk.Reference(c_routeb_new_1w1r_20x64_co, (4.3,0.835)))
c_routeb_new_1w1r_20x64_nm___.add(gdstk.Reference(c_routeb_new_1w1r_20x64_co, (4.84,0.835)))
c_routeb_new_1w1r_20x64_nm___.add(gdstk.Reference(c_routeb_new_1w1r_20x64_co, (5.38,0.835)))
c_routeb_new_1w1r_20x64_nm___.add(gdstk.Reference(c_routeb_new_1w1r_20x64_co, (5.92,0.835)))
c_routeb_new_1w1r_20x64_nm___.add(gdstk.Reference(c_routeb_new_1w1r_20x64_co, (6.46,0.835)))
c_routeb_new_1w1r_20x64_nm___.add(gdstk.Reference(c_routeb_new_1w1r_20x64_co, (7,0.835)))
c_routeb_new_1w1r_20x64_nm___.add(gdstk.Reference(c_routeb_new_1w1r_20x64_co, (7.54,0.835)))
c_routeb_new_1w1r_20x64_nm___.add(gdstk.Reference(c_routeb_new_1w1r_20x64_co, (8.08,0.835)))
c_routeb_new_1w1r_20x64_nm___.add(gdstk.Reference(c_routeb_new_1w1r_20x64_co, (8.62,0.835)))
c_routeb_new_1w1r_20x64_nm___.add(gdstk.Reference(c_routeb_new_1w1r_20x64_co, (9.16,0.835)))
c_routeb_new_1w1r_20x64_nm___.add(gdstk.Reference(c_routeb_new_1w1r_20x64_co, (9.7,0.835)))
c_routeb_new_1w1r_20x64_nm___.add(gdstk.Reference(c_routeb_new_1w1r_20x64_co, (10.24,0.835)))
c_routeb_new_1w1r_20x64_nm___.add(gdstk.Reference(c_routeb_new_1w1r_20x64_co, (10.78,0.835)))
c_routeb_new_1w1r_20x64_nm___.add(gdstk.Reference(c_routeb_new_1w1r_20x64_co, (11.32,0.835)))
c_routeb_new_1w1r_20x64_nm___.add(gdstk.Reference(c_routeb_new_1w1r_20x64_co, (11.86,0.835)))
c_routeb_new_1w1r_20x64_nm___.add(gdstk.Reference(c_routeb_new_1w1r_20x64_co, (12.4,0.835)))
c_routeb_new_1w1r_20x64_nm___.add(gdstk.Reference(c_routeb_new_1w1r_20x64_co, (12.94,0.835)))
c_routeb_new_1w1r_20x64_nm___.add(gdstk.Reference(c_routeb_new_1w1r_20x64_co, (13.48,0.835)))
c_routeb_new_1w1r_20x64_nm___.add(gdstk.Reference(c_routeb_new_1w1r_20x64_co, (14,0.835)))
c_routeb_new_1w1r_20x64_nm___.add(gdstk.Label('G', (7.125,2.205), layer=66, texttype=5))
c_routeb_new_1w1r_20x64_nm___.add(gdstk.Label('S', (14.125,1), layer=67, texttype=5))
c_routeb_new_1w1r_20x64_nm___.add(gdstk.Label('S', (8.745,1), layer=67, texttype=5))
c_routeb_new_1w1r_20x64_nm___.add(gdstk.Label('S', (13.065,1), layer=67, texttype=5))
c_routeb_new_1w1r_20x64_nm___.add(gdstk.Label('S', (0.125,1), layer=67, texttype=5))
c_routeb_new_1w1r_20x64_nm___.add(gdstk.Label('S', (4.425,1), layer=67, texttype=5))
c_routeb_new_1w1r_20x64_nm___.add(gdstk.Label('S', (11.985,1), layer=67, texttype=5))
c_routeb_new_1w1r_20x64_nm___.add(gdstk.Label('S', (2.265,1), layer=67, texttype=5))
c_routeb_new_1w1r_20x64_nm___.add(gdstk.Label('S', (6.585,1), layer=67, texttype=5))
c_routeb_new_1w1r_20x64_nm___.add(gdstk.Label('S', (1.185,1), layer=67, texttype=5))
c_routeb_new_1w1r_20x64_nm___.add(gdstk.Label('S', (9.825,1), layer=67, texttype=5))
c_routeb_new_1w1r_20x64_nm___.add(gdstk.Label('S', (7.665,1), layer=67, texttype=5))
c_routeb_new_1w1r_20x64_nm___.add(gdstk.Label('S', (10.905,1), layer=67, texttype=5))
c_routeb_new_1w1r_20x64_nm___.add(gdstk.Label('S', (3.345,1), layer=67, texttype=5))
c_routeb_new_1w1r_20x64_nm___.add(gdstk.Label('S', (5.505,1), layer=67, texttype=5))
c_routeb_new_1w1r_20x64_nm___.add(gdstk.Label('D', (7.125,1.42), layer=67, texttype=5))

c_routeb_new_1w1r_20x64_pi___ = lib.new_cell('routeb_new_1w1r_20x64_pinv_8')
R(c_routeb_new_1w1r_20x64_pi___, nwell, [(-0.18,3.395,15.52,7.355)])
R(c_routeb_new_1w1r_20x64_pi___, poly, [(0.57,2.535,0.72,4.535), (0.405,3.37,0.57,3.7)])
A(c_routeb_new_1w1r_20x64_pi___, li1, 1.37, -0.085, 0.17, 1.175, 12, 1, 1.08, 0)
A(c_routeb_new_1w1r_20x64_pi___, li1, 1.37, 5.65, 0.17, 1.505, 12, 1, 1.08, 0)
R(c_routeb_new_1w1r_20x64_pi___, li1, [(0,-0.085,15.34,0.085), (0.31,-0.085,0.48,1.09), (14.31,-0.085,14.48,1.09), (14.83,0,15,0.46), (7.31,1.59,7.48,5.48), (0.32,3.37,0.49,3.7), (7.395,3.45,7.565,3.62), (0.31,5.65,0.48,7.155), (14.31,5.65,14.48,7.155), (14.83,6.545,15,7.07), (0,6.985,15.34,7.155)])
R(c_routeb_new_1w1r_20x64_pi___, stdcell_id, [(0,0,15.34,7.07), (0,0,15.34,7.07)])
R(c_routeb_new_1w1r_20x64_pi___, nsdm, [(0,-0.19,15.34,0.19), (0,0,14.645,2.38)])
R(c_routeb_new_1w1r_20x64_pi___, psdm, [(0,4.69,14.645,7.07), (0,6.88,15.34,7.26)])
R(c_routeb_new_1w1r_20x64_pi___, boundary, [(0,0,15.34,7.07), (0,0,15.34,7.07)])
c_routeb_new_1w1r_20x64_pi___.add(gdstk.Reference(c_routeb_new_1w1r_20x64_pm___, (0.27,4.815)))
c_routeb_new_1w1r_20x64_pi___.add(gdstk.Reference(c_routeb_new_1w1r_20x64_nm___, (0.27,0.255)))
c_routeb_new_1w1r_20x64_pi___.add(gdstk.Reference(c_routeb_new_1w1r_20x64_co_, (14.79,6.34)))
c_routeb_new_1w1r_20x64_pi___.add(gdstk.Reference(c_routeb_new_1w1r_20x64_co__, (14.79,0.255)))
c_routeb_new_1w1r_20x64_pi___.add(gdstk.Reference(c_routeb_new_1w1r_20x64_co___, (0.24,3.37)))
c_routeb_new_1w1r_20x64_pi___.add(gdstk.Label('A', (0.405,3.535), layer=67, texttype=5))
c_routeb_new_1w1r_20x64_pi___.add(gdstk.Label('Z', (7.48,3.535), layer=67, texttype=5))
c_routeb_new_1w1r_20x64_pi___.add(gdstk.Label('gnd', (7.67,0), layer=67, texttype=5))
c_routeb_new_1w1r_20x64_pi___.add(gdstk.Label('vdd', (7.67,7.07), layer=67, texttype=5))

routeb_new_1w1r_20x64_pd = lib.new_cell('routeb_new_1w1r_20x64_pdriver_0')
R(routeb_new_1w1r_20x64_pd, nwell, [(-0.18,3.395,30.66,7.355)])
R(routeb_new_1w1r_20x64_pd, li1, [(0,-0.085,30.48,0.085), (0.32,3.18,0.49,3.51), (0.98,3.26,2.245,3.43), (2.735,3.32,2.905,3.49), (2.82,3.32,4.085,3.49), (2.735,3.345,2.905,3.405), (4.595,3.405,4.765,3.535), (4.595,3.45,4.765,3.62), (4.68,3.45,6.465,3.62), (7.59,3.45,9.385,3.62), (12.13,3.45,15.545,3.62), (22.535,3.45,22.705,3.62), (0,6.985,30.48,7.155)])
R(routeb_new_1w1r_20x64_pd, stdcell_id, [(0,0,30.48,7.07), (0,0,30.48,7.07)])
R(routeb_new_1w1r_20x64_pd, nsdm, [(0,-0.19,30.48,0.19)])
R(routeb_new_1w1r_20x64_pd, psdm, [(0,6.88,30.48,7.26)])
R(routeb_new_1w1r_20x64_pd, boundary, [(0,0,30.48,7.07), (0,0,30.48,7.07)])
routeb_new_1w1r_20x64_pd.add(gdstk.Reference(routeb_new_1w1r_20x64_pi, (0,0)))
routeb_new_1w1r_20x64_pd.add(gdstk.Reference(routeb_new_1w1r_20x64_pi, (1.84,0)))
routeb_new_1w1r_20x64_pd.add(gdstk.Reference(c_routeb_new_1w1r_20x64_pi, (3.68,0)))
routeb_new_1w1r_20x64_pd.add(gdstk.Reference(c_routeb_new_1w1r_20x64_pi_, (6.06,0)))
routeb_new_1w1r_20x64_pd.add(gdstk.Reference(c_routeb_new_1w1r_20x64_pi__, (8.98,0)))
routeb_new_1w1r_20x64_pd.add(gdstk.Reference(c_routeb_new_1w1r_20x64_pi___, (15.14,0)))
routeb_new_1w1r_20x64_pd.add(gdstk.Label('Z', (22.62,3.535), layer=67, texttype=5))
routeb_new_1w1r_20x64_pd.add(gdstk.Label('A', (0.405,3.345), layer=67, texttype=5))
routeb_new_1w1r_20x64_pd.add(gdstk.Label('gnd', (15.24,0), layer=67, texttype=5))
routeb_new_1w1r_20x64_pd.add(gdstk.Label('vdd', (15.24,7.07), layer=67, texttype=5))

lib.write_gds('routeb_new_1w1r_20x64_pdriver_0.gds')
